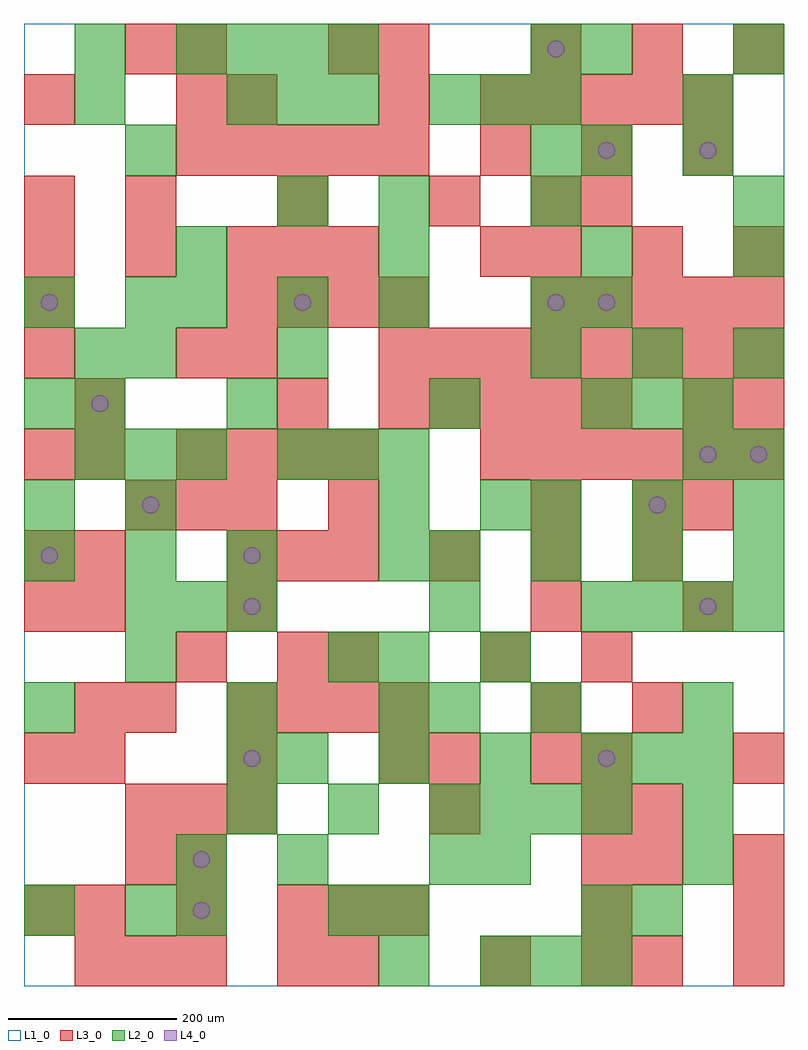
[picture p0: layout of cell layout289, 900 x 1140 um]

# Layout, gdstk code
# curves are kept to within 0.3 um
import gdstk
lib = gdstk.Library(unit=1e-6, precision=1e-09)
def R(c, l, rs):  # rectangles x0, y0, x1, y1
    for r in rs: c.add(gdstk.rectangle(r[:2], r[2:], *l))
def A(c, l, x, y, w, h, nx, ny, dx, dy):  # array of equal rectangles
    R(c, l, [(x+i*dx, y+j*dy, x+i*dx+w, y+j*dy+h) for i in range(nx) for j in range(ny)])
def P(c, l, *ps):  # polygons
    for p in ps: c.add(gdstk.Polygon(p, *l))
L1_0 = (1, 0)
L2_0 = (2, 0)
L3_0 = (3, 0)
L4_0 = (4, 0)

layout289 = lib.new_cell('layout289')
R(layout289, L1_0, [(0,0,900,1140)])
A(layout289, L2_0, 540, 0, 60, 60, 3, 2, 60, 180)
A(layout289, L2_0, 0, 60, 60, 60, 1, 3, 0, 240)
A(layout289, L2_0, 780, 120, 60, 60, 1, 4, 0, 60)
A(layout289, L2_0, 240, 180, 60, 60, 3, 1, 120, 0)
A(layout289, L2_0, 300, 240, 60, 60, 4, 1, 120, 0)
A(layout289, L2_0, 120, 360, 60, 60, 1, 3, 0, 180)
A(layout289, L2_0, 120, 420, 60, 60, 3, 1, 60, 0)
A(layout289, L2_0, 660, 420, 60, 60, 4, 1, 60, 0)
A(layout289, L2_0, 0, 480, 60, 60, 3, 1, 120, 0)
A(layout289, L2_0, 480, 480, 60, 60, 4, 1, 120, 0)
A(layout289, L2_0, 600, 540, 60, 60, 3, 2, 120, 180)
A(layout289, L2_0, 60, 600, 60, 60, 3, 1, 60, 0)
A(layout289, L2_0, 300, 600, 60, 60, 3, 1, 60, 0)
A(layout289, L2_0, 660, 660, 60, 60, 3, 1, 60, 0)
A(layout289, L2_0, 180, 780, 60, 60, 3, 1, 120, 0)
A(layout289, L2_0, 180, 840, 60, 60, 3, 1, 240, 0)
A(layout289, L2_0, 240, 1020, 60, 60, 3, 1, 60, 0)
A(layout289, L2_0, 480, 1020, 60, 60, 3, 1, 60, 0)
A(layout289, L2_0, 180, 1080, 60, 60, 4, 1, 60, 0)
R(layout289, L2_0, [(420,0,480,60), (120,60,180,120), (180,60,240,120), (360,60,420,120), (420,60,480,120), (660,60,720,120), (720,60,780,120), (180,120,240,180), (300,120,360,180), (480,120,540,180), (540,120,600,180), (240,240,300,300), (720,240,780,300), (240,300,300,360), (420,300,480,360), (480,300,540,360), (600,300,660,360), (360,360,420,420), (420,360,480,420), (540,360,600,420), (480,420,540,480), (420,480,480,540), (420,540,480,600), (540,540,600,600), (780,600,840,660), (840,600,900,660), (0,660,60,720), (60,660,120,720), (240,660,300,720), (480,660,540,720), (60,720,120,780), (300,720,360,780), (0,780,60,840), (120,780,180,840), (600,780,660,840), (660,780,720,840), (840,840,900,900), (300,900,360,960), (420,900,480,960), (600,900,660,960), (840,900,900,960), (120,960,180,1020), (600,960,660,1020), (660,960,720,1020), (780,960,840,1020), (60,1020,120,1080), (780,1020,840,1080), (60,1080,120,1140), (600,1080,660,1140), (660,1080,720,1140), (840,1080,900,1140)])
A(layout289, L3_0, 60, 0, 60, 60, 3, 1, 60, 0)
A(layout289, L3_0, 660, 0, 60, 60, 1, 5, 0, 60)
A(layout289, L3_0, 840, 0, 60, 60, 1, 3, 0, 60)
A(layout289, L3_0, 0, 60, 60, 60, 1, 3, 0, 180)
A(layout289, L3_0, 60, 60, 60, 60, 3, 1, 120, 0)
A(layout289, L3_0, 120, 180, 60, 60, 3, 2, 60, 360)
A(layout289, L3_0, 60, 240, 60, 60, 3, 1, 180, 0)
A(layout289, L3_0, 240, 300, 60, 60, 4, 2, 60, 480)
A(layout289, L3_0, 600, 300, 60, 60, 1, 3, 0, 120)
A(layout289, L3_0, 240, 420, 60, 60, 1, 3, 0, 300)
A(layout289, L3_0, 780, 420, 60, 60, 1, 3, 0, 120)
A(layout289, L3_0, 0, 480, 60, 60, 1, 3, 0, 120)
A(layout289, L3_0, 240, 480, 60, 60, 3, 1, 60, 0)
A(layout289, L3_0, 480, 480, 60, 60, 3, 1, 120, 0)
A(layout289, L3_0, 180, 600, 60, 60, 4, 1, 60, 0)
A(layout289, L3_0, 540, 600, 60, 60, 6, 1, 60, 0)
A(layout289, L3_0, 420, 660, 60, 60, 5, 1, 60, 0)
A(layout289, L3_0, 420, 720, 60, 60, 8, 1, 60, 0)
A(layout289, L3_0, 0, 780, 60, 60, 1, 3, 0, 120)
A(layout289, L3_0, 600, 780, 60, 60, 5, 1, 60, 0)
A(layout289, L3_0, 0, 840, 60, 60, 3, 1, 120, 0)
A(layout289, L3_0, 600, 840, 60, 60, 3, 2, 120, 240)
A(layout289, L3_0, 120, 900, 60, 60, 3, 1, 180, 0)
A(layout289, L3_0, 180, 960, 60, 60, 5, 1, 60, 0)
A(layout289, L3_0, 540, 960, 60, 60, 3, 1, 120, 0)
A(layout289, L3_0, 540, 1020, 60, 60, 5, 1, 60, 0)
R(layout289, L3_0, [(300,0,360,60), (360,0,420,60), (540,0,600,60), (720,0,780,60), (360,60,420,120), (420,60,480,120), (120,120,180,180), (180,120,240,180), (720,120,780,180), (480,180,540,240), (720,180,780,240), (480,240,540,300), (600,240,660,300), (840,240,900,300), (60,300,120,360), (120,300,180,360), (720,300,780,360), (180,360,240,420), (300,360,360,420), (360,360,420,420), (540,360,600,420), (660,360,720,420), (60,420,120,480), (60,480,120,540), (360,540,420,600), (720,540,780,600), (60,600,120,660), (60,660,120,720), (300,660,360,720), (840,660,900,720), (180,720,240,780), (300,840,360,900), (360,840,420,900), (540,840,600,900), (600,900,660,960), (660,900,720,960), (180,1020,240,1080), (420,1020,480,1080), (120,1080,180,1140), (180,1080,240,1140), (360,1080,420,1140), (420,1080,480,1140)])
P(layout289, L4_0, [(40,510),(39.239,513.827),(37.071,517.071),(33.827,519.239),(30,520),(26.173,519.239),(22.929,517.071),(20.761,513.827),(20,510),(20.761,506.173),(22.929,502.929),(26.173,500.761),(30,500),(33.827,500.761),(37.071,502.929),(39.239,506.173)],
  [(40,810),(39.239,813.827),(37.071,817.071),(33.827,819.239),(30,820),(26.173,819.239),(22.929,817.071),(20.761,813.827),(20,810),(20.761,806.173),(22.929,802.929),(26.173,800.761),(30,800),(33.827,800.761),(37.071,802.929),(39.239,806.173)],
  [(100,690),(99.239,693.827),(97.071,697.071),(93.827,699.239),(90,700),(86.173,699.239),(82.929,697.071),(80.761,693.827),(80,690),(80.761,686.173),(82.929,682.929),(86.173,680.761),(90,680),(93.827,680.761),(97.071,682.929),(99.239,686.173)],
  [(160,570),(159.239,573.827),(157.071,577.071),(153.827,579.239),(150,580),(146.173,579.239),(142.929,577.071),(140.761,573.827),(140,570),(140.761,566.173),(142.929,562.929),(146.173,560.761),(150,560),(153.827,560.761),(157.071,562.929),(159.239,566.173)],
  [(220,90),(219.239,93.827),(217.071,97.071),(213.827,99.239),(210,100),(206.173,99.239),(202.929,97.071),(200.761,93.827),(200,90),(200.761,86.173),(202.929,82.929),(206.173,80.761),(210,80),(213.827,80.761),(217.071,82.929),(219.239,86.173)],
  [(220,150),(219.239,153.827),(217.071,157.071),(213.827,159.239),(210,160),(206.173,159.239),(202.929,157.071),(200.761,153.827),(200,150),(200.761,146.173),(202.929,142.929),(206.173,140.761),(210,140),(213.827,140.761),(217.071,142.929),(219.239,146.173)],
  [(280,270),(279.239,273.827),(277.071,277.071),(273.827,279.239),(270,280),(266.173,279.239),(262.929,277.071),(260.761,273.827),(260,270),(260.761,266.173),(262.929,262.929),(266.173,260.761),(270,260),(273.827,260.761),(277.071,262.929),(279.239,266.173)],
  [(280,450),(279.239,453.827),(277.071,457.071),(273.827,459.239),(270,460),(266.173,459.239),(262.929,457.071),(260.761,453.827),(260,450),(260.761,446.173),(262.929,442.929),(266.173,440.761),(270,440),(273.827,440.761),(277.071,442.929),(279.239,446.173)],
  [(280,510),(279.239,513.827),(277.071,517.071),(273.827,519.239),(270,520),(266.173,519.239),(262.929,517.071),(260.761,513.827),(260,510),(260.761,506.173),(262.929,502.929),(266.173,500.761),(270,500),(273.827,500.761),(277.071,502.929),(279.239,506.173)],
  [(340,810),(339.239,813.827),(337.071,817.071),(333.827,819.239),(330,820),(326.173,819.239),(322.929,817.071),(320.761,813.827),(320,810),(320.761,806.173),(322.929,802.929),(326.173,800.761),(330,800),(333.827,800.761),(337.071,802.929),(339.239,806.173)],
  [(640,810),(639.239,813.827),(637.071,817.071),(633.827,819.239),(630,820),(626.173,819.239),(622.929,817.071),(620.761,813.827),(620,810),(620.761,806.173),(622.929,802.929),(626.173,800.761),(630,800),(633.827,800.761),(637.071,802.929),(639.239,806.173)],
  [(640,1110),(639.239,1113.827),(637.071,1117.071),(633.827,1119.239),(630,1120),(626.173,1119.239),(622.929,1117.071),(620.761,1113.827),(620,1110),(620.761,1106.173),(622.929,1102.929),(626.173,1100.761),(630,1100),(633.827,1100.761),(637.071,1102.929),(639.239,1106.173)],
  [(700,270),(699.239,273.827),(697.071,277.071),(693.827,279.239),(690,280),(686.173,279.239),(682.929,277.071),(680.761,273.827),(680,270),(680.761,266.173),(682.929,262.929),(686.173,260.761),(690,260),(693.827,260.761),(697.071,262.929),(699.239,266.173)],
  [(700,810),(699.239,813.827),(697.071,817.071),(693.827,819.239),(690,820),(686.173,819.239),(682.929,817.071),(680.761,813.827),(680,810),(680.761,806.173),(682.929,802.929),(686.173,800.761),(690,800),(693.827,800.761),(697.071,802.929),(699.239,806.173)],
  [(700,990),(699.239,993.827),(697.071,997.071),(693.827,999.239),(690,1000),(686.173,999.239),(682.929,997.071),(680.761,993.827),(680,990),(680.761,986.173),(682.929,982.929),(686.173,980.761),(690,980),(693.827,980.761),(697.071,982.929),(699.239,986.173)],
  [(760,570),(759.239,573.827),(757.071,577.071),(753.827,579.239),(750,580),(746.173,579.239),(742.929,577.071),(740.761,573.827),(740,570),(740.761,566.173),(742.929,562.929),(746.173,560.761),(750,560),(753.827,560.761),(757.071,562.929),(759.239,566.173)],
  [(820,450),(819.239,453.827),(817.071,457.071),(813.827,459.239),(810,460),(806.173,459.239),(802.929,457.071),(800.761,453.827),(800,450),(800.761,446.173),(802.929,442.929),(806.173,440.761),(810,440),(813.827,440.761),(817.071,442.929),(819.239,446.173)],
  [(820,630),(819.239,633.827),(817.071,637.071),(813.827,639.239),(810,640),(806.173,639.239),(802.929,637.071),(800.761,633.827),(800,630),(800.761,626.173),(802.929,622.929),(806.173,620.761),(810,620),(813.827,620.761),(817.071,622.929),(819.239,626.173)],
  [(820,990),(819.239,993.827),(817.071,997.071),(813.827,999.239),(810,1000),(806.173,999.239),(802.929,997.071),(800.761,993.827),(800,990),(800.761,986.173),(802.929,982.929),(806.173,980.761),(810,980),(813.827,980.761),(817.071,982.929),(819.239,986.173)],
  [(880,630),(879.239,633.827),(877.071,637.071),(873.827,639.239),(870,640),(866.173,639.239),(862.929,637.071),(860.761,633.827),(860,630),(860.761,626.173),(862.929,622.929),(866.173,620.761),(870,620),(873.827,620.761),(877.071,622.929),(879.239,626.173)])

lib.write_gds('layout289.gds')
